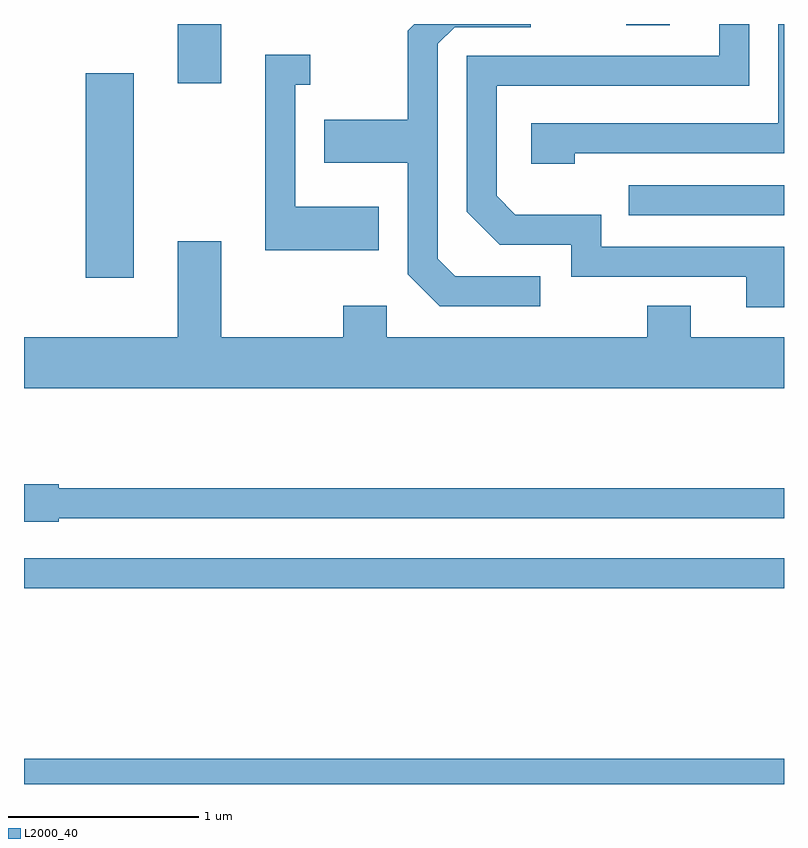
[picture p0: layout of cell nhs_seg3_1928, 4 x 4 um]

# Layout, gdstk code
import gdstk
lib = gdstk.Library(unit=1e-6, precision=1e-09)
def R(c, l, rs):  # rectangles x0, y0, x1, y1
    for r in rs: c.add(gdstk.rectangle(r[:2], r[2:], *l))
def P(c, l, *ps):  # polygons
    for p in ps: c.add(gdstk.Polygon(p, *l))
L2000_40 = (2000, 40)

nhs_seg3_1928 = lib.new_cell('nhs_seg3_1928')
R(nhs_seg3_1928, L2000_40, [(241.611,1163.892,245.611,1164.024), (241.611,1164.921,245.611,1165.079), (241.936,1166.556,242.189,1167.634), (244.793,1166.886,245.611,1167.044), (242.421,1167.581,242.649,1167.892), (244.781,1167.886,245.009,1167.892)])
P(nhs_seg3_1928, L2000_40, [(244.509,1167.211),(245.611,1167.211),(245.611,1167.892),(245.581,1167.892),(245.581,1167.369),(244.281,1167.369),(244.281,1167.156),(244.509,1167.156)],
  [(245.611,1166.719),(244.649,1166.719),(244.649,1166.889),(244.197,1166.889),(244.099,1166.987),(244.099,1167.566),(245.429,1167.566),(245.429,1167.892),(245.271,1167.892),(245.271,1167.724),(243.941,1167.724),(243.941,1166.904),(244.114,1166.731),(244.491,1166.731),(244.491,1166.561),(245.411,1166.561),(245.411,1166.401),(245.611,1166.401)],
  [(244.328,1166.564),(243.882,1166.564),(243.789,1166.657),(243.789,1167.789),(243.877,1167.876),(244.278,1167.876),(244.278,1167.892),(243.666,1167.892),(243.631,1167.857),(243.631,1167.389),(243.191,1167.389),(243.191,1167.161),(243.631,1167.161),(243.631,1166.574),(243.799,1166.406),(244.328,1166.406)],
  [(243.479,1166.929),(243.039,1166.929),(243.039,1167.571),(243.118,1167.571),(243.118,1167.729),(242.881,1167.729),(242.881,1166.701),(243.479,1166.701)],
  [(245.611,1166.244),(245.119,1166.244),(245.119,1166.409),(244.891,1166.409),(244.891,1166.244),(243.519,1166.244),(243.519,1166.409),(243.291,1166.409),(243.291,1166.244),(242.649,1166.244),(242.649,1166.749),(242.421,1166.749),(242.421,1166.244),(241.611,1166.244),(241.611,1165.976),(245.611,1165.976)],
  [(241.794,1165.291),(245.611,1165.291),(245.611,1165.449),(241.794,1165.449),(241.794,1165.469),(241.611,1165.469),(241.611,1165.271),(241.794,1165.271)])

lib.write_gds('nhs_seg3_1928.gds')
